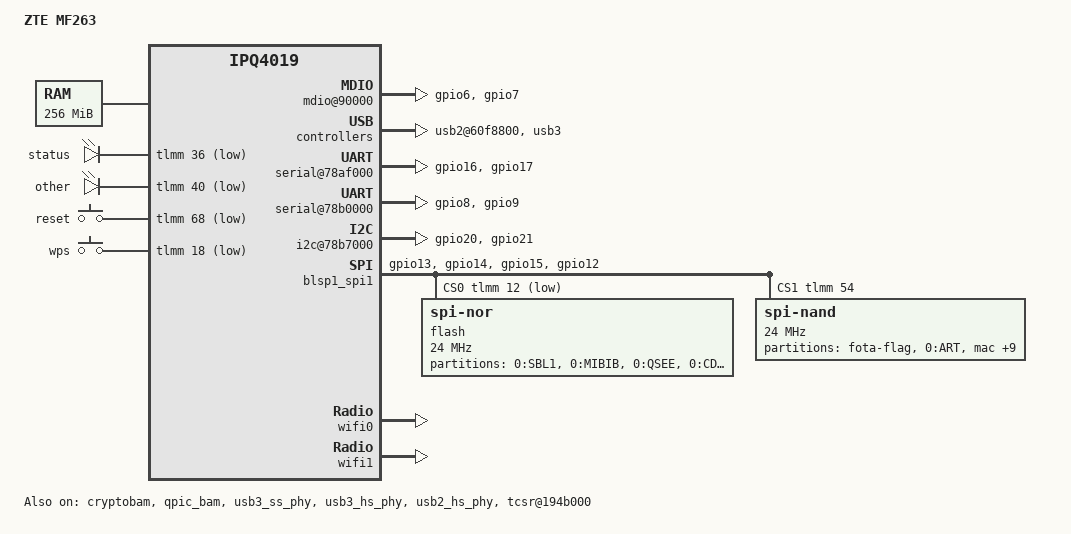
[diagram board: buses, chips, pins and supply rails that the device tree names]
/*
 * Copyright (c) 2021 Hugo Yuan <hugolxq@gmail.com>
 */

#include "qcom-ipq4019.dtsi"
#include <dt-bindings/gpio/gpio.h>
#include <dt-bindings/input/input.h>
#include <dt-bindings/soc/qcom,tcsr.h>

/ {
	model = "ZTE MF263";
	compatible = "zte,mf263", "qcom,ipq4019";

	memory {
		device_type = "memory";
		reg = <0x80000000 0x10000000>; /* 256MB */
	};

	aliases {
		led-boot = &power;
		led-failsafe = &power;
		led-running = &power;
		led-upgrade = &power;
	};

	chosen {
		bootargs-override = "ubi.mtd=rootfs root=/dev/ubiblock0_1 rootfstype=squashfs rootwait clk_ignore_unused";
	};

	soc {
		mdio@90000 {
			status = "okay";
			pinctrl-0 = <&mdio_pins>;
			pinctrl-names = "default";
		};

		ess-psgmii@98000 {
			status = "okay";
		};

		tcsr@1949000 {
			compatible = "qcom,tcsr";
			reg = <0x1949000 0x100>;
			qcom,wifi_glb_cfg = <TCSR_WIFI_GLB_CFG>;
		};

		tcsr@194b000 {
			/* select hostmode */
			compatible = "qcom,tcsr";
			reg = <0x194b000 0x100>;
			qcom,usb-hsphy-mode-select = <TCSR_USB_HSPHY_HOST_MODE>;
			status = "okay";
		};

		ess_tcsr@1953000 {
			compatible = "qcom,tcsr";
			reg = <0x1953000 0x1000>;
			qcom,ess-interface-select = <TCSR_ESS_PSGMII>;
		};

		tcsr@1957000 {
			compatible = "qcom,tcsr";
			reg = <0x1957000 0x100>;
			qcom,wifi_noc_memtype_m0_m2 = <TCSR_WIFI_NOC_MEMTYPE_M0_M2>;
		};

		usb2@60f8800 {
			status = "okay";

			dwc3@6000000 {
				#address-cells = <1>;
				#size-cells = <0>;

				usb2_port1: port@1 {
					reg = <1>;
					#trigger-source-cells = <0>;
				};
			};
		};

		serial@78af000 {
			pinctrl-0 = <&serial_0_pins>;
			pinctrl-names = "default";
			status = "okay";
		};

		serial@78b0000 {
			pinctrl-0 = <&serial_1_pins>;
			pinctrl-names = "default";
			status = "okay";
		};

		i2c@78b7000 { /* BLSP1 QUP2 */
			pinctrl-0 = <&i2c_0_pins>;
			pinctrl-names = "default";

			status = "okay";
		};

		usb3: usb3@8af8800 {
			status = "okay";

			dwc3@8a00000 {
				#address-cells = <1>;
				#size-cells = <0>;

				usb3_port1: port@1 {
					reg = <1>;
					#trigger-source-cells = <0>;
				};

				usb3_port2: port@2 {
					reg = <2>;
					#trigger-source-cells = <0>;
				};
			};
		};

		crypto@8e3a000 {
			status = "okay";
		};

		watchdog@b017000 {
			status = "okay";
		};

		ess-switch@c000000 {
			status = "okay";
		};

		edma@c080000 {
			status = "okay";
		};

		leds {
			compatible = "gpio-leds";

			power: status {
                label = "status";
                gpios = <&tlmm 36 GPIO_ACTIVE_LOW>;
		    };

            other: other {
                label = "other";
                gpios = <&tlmm 40 GPIO_ACTIVE_LOW>;
		    };
		};

		keys {
			compatible = "gpio-keys";

			reset {
				label = "reset";
				gpios = <&tlmm 68 GPIO_ACTIVE_LOW>;
				linux,code = <KEY_RESTART>;
			};

            wps {
				label = "wps";
				gpios = <&tlmm 18 GPIO_ACTIVE_LOW>;
				linux,code = <KEY_WPS_BUTTON>;
			};
		};
	};
};

&blsp_dma {
	status = "okay";
};

&blsp1_spi1 {
	pinctrl-0 = <&spi_0_pins>;
	pinctrl-names = "default";
	status = "okay";
	cs-gpios = <&tlmm 12 GPIO_ACTIVE_LOW>,
			<&tlmm 54 GPIO_ACTIVE_HIGH>;
	num-cs = <2>;

	flash@0 {
		compatible = "jedec,spi-nor";
		reg = <0>;
		linux,modalias = "m25p80", "mx25l1606e", "n25q128a11";
		spi-max-frequency = <24000000>;

		partitions {
			compatible = "fixed-partitions";
			#address-cells = <1>;
			#size-cells = <1>;

			partition@0 {
                label = "0:SBL1";
                reg = < 0x00 0x40000 >;
            };

            partition@40000 {
                label = "0:MIBIB";
                reg = < 0x40000 0x20000 >;
            };

            partition@60000 {
                label = "0:QSEE";
                reg = < 0x60000 0x60000 >;
            };

            partition@c0000 {
                label = "0:CDT";
                reg = < 0xc0000 0x10000 >;
            };

            partition@d0000 {
                label = "0:DDRPARAMS";
                reg = < 0xd0000 0x10000 >;
            };

            partition@e0000 {
                label = "0:APPSBLENV";
                reg = < 0xe0000 0x10000 >;
            };

            partition@f0000 {
                label = "0:APPSBL";
                reg = < 0xf0000 0xc0000 >;
            };

            partition@1b0000 {
                label = "0:reserved1";
                reg = < 0x1b0000 0x50000 >;
            };
		};
	};

    spi-nand@1 {
        compatible = "spi-nand";
		reg = <1>;
		spi-max-frequency = <24000000>;

		partitions {
			compatible = "fixed-partitions";
			#address-cells = <1>;
			#size-cells = <1>;

			partition@0 {
				label = "fota-flag";
				reg = < 0x00 0xa0000 >;
			};

			partition@a0000 {
				label = "0:ART";
				reg = < 0xa0000 0x80000 >;
			};

			partition@120000 {
				label = "mac";
				reg = < 0x120000 0x80000 >;
			};

			partition@1a0000 {
				label = "reserved2";
				reg = < 0x1a0000 0xc0000 >;
			};

			partition@260000 {
				label = "cfg-param";
				reg = < 0x260000 0x400000 >;
			};

			partition@660000 {
				label = "log";
				reg = < 0x660000 0x400000 >;
			};

			partition@a60000 {
				label = "oops";
				reg = < 0xa60000 0xa0000 >;
			};

			partition@b00000 {
				label = "reserved3";
				reg = < 0xb00000 0x500000 >;
			};

			partition@1000000 {
				label = "web";
				reg = < 0x1000000 0x800000 >;
			};

			partition@1800000 {
				label = "rootfs";
				reg = < 0x1800000 0x1d00000 >;
			};

			partition@3500000 {
				label = "data";
				reg = < 0x3500000 0x1900000 >;
			};

			partition@4e00000 {
				label = "fota";
				reg = < 0x4e00000 0x3200000 >;
			};
		};
    };
};

&cryptobam {
	status = "okay";
};

&qpic_bam {
	status = "okay";
};

&tlmm {
	i2c_0_pins: i2c-0-pinmux {
		mux {
			pins = "gpio20", "gpio21";
			function = "blsp_i2c0";
			bias-disable;
		};
	};

	mdio_pins: mdio_pinmux {
		mux_1 {
			pins = "gpio6";
			function = "mdio";
			bias-pull-up;
		};

		mux_2 {
			pins = "gpio7";
			function = "mdc";
			bias-pull-up;
		};
	};

	serial_0_pins: serial0-pinmux {
		mux {
			pins = "gpio16", "gpio17";
			function = "blsp_uart0";
			bias-disable;
		};
	};

	serial_1_pins: serial1_pinmux {
		mux {
			pins = "gpio8", "gpio9";
			function = "blsp_uart1";
			bias-disable;
		};
	};

	spi_0_pins: spi_0_pinmux {
		pinmux {
			function = "blsp_spi0";
			pins = "gpio13", "gpio14", "gpio15";
			drive-strength = <12>;
			bias-disable;
		};

		pinmux_cs {
			function = "gpio";
			pins = "gpio12";
			drive-strength = <2>;
			bias-disable;
			output-high;
		};
	};
};

&usb3_ss_phy {
	status = "okay";
};

&usb3_hs_phy {
	status = "okay";
};

&usb2_hs_phy {
	status = "okay";
};

&wifi0 {
	status = "okay";
	qcom,ath10k-calibration-variant = "zte_mf263";
};

&wifi1 {
	status = "okay";
	qcom,ath10k-calibration-variant = "zte_mf263";
};
